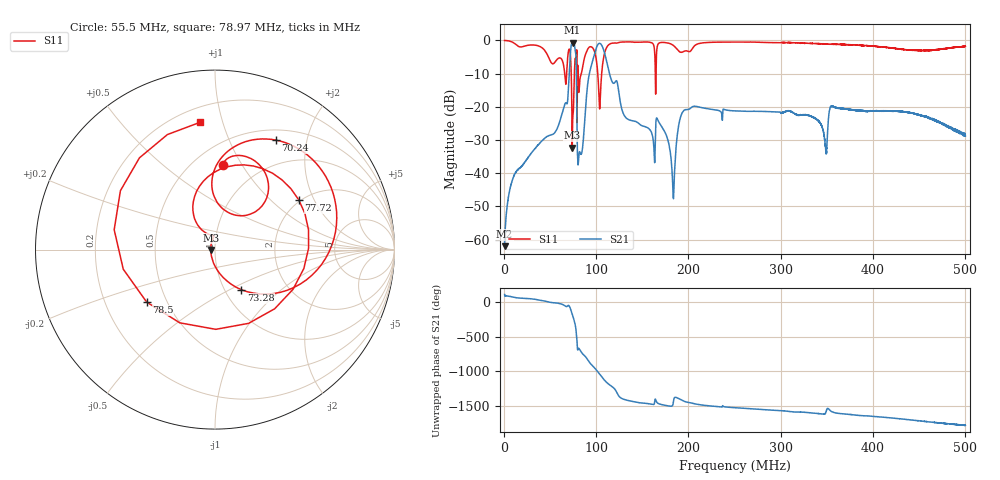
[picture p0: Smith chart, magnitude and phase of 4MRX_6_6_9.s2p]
! NanoVNA-App
! Date: 2026-08-19 18:03:17
! Start: 1MHz Stop: 500MHz Points: 6401
! S-Parameter data: F S11 S21 S12 S22
# Hz S RI R 50
!  Frequency  S11_Real  S11_Imag  S21_Real  S21_Imag  S12_Real  S12_Imag  S22_Real  S22_Imag
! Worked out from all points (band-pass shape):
!   6401 points, 1 MHz to 500 MHz, reference 50 ohm
!   highest |S21| = -0.66 dB at 74.6 MHz (marker M1); lowest = -61.9 dB at 1 MHz (marker M2)
!   |S21| within 3 dB of the highest: 72.34 MHz to 77.88 MHz (5.543 MHz wide, 7.38 % of centre); 98.75 MHz to 109.1 MHz (10.36 MHz wide, 9.97 % of centre)
!   lowest |S11| = -32.3 dB at 74.21 MHz (marker M3), VSWR 1.05, Z = 47.6 - j0.225 ohm
!   |S11| at or under -10 dB: 73.14 MHz to 76.55 MHz (3.405 MHz wide, 4.55 % of centre); 80.65 MHz to 84.02 MHz (3.372 MHz wide, 4.1 % of centre); 101.9 MHz to 106.1 MHz (4.219 MHz wide, 4.06 % of centre)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
!   S12 and S22 are empty: the file has one direction only
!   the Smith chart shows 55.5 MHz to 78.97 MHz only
!   S11 on the Smith chart (normalised r, x): 55.5 MHz: 0.69, +0.83; 70.24 MHz: 0.63, +1.51; 73.28 MHz: 1.19, -0.58; 77.72 MHz: 1.95, +1.54; 78.5 MHz: 0.39, -0.29; 78.97 MHz: 0.29, +0.85
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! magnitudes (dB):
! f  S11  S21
! 1 MHz  0.0  -61.9
! 11.92 MHz  -0.9  -40.3
! 55.5 MHz  -6.5  -27.7
! 70.24 MHz  -3.1  -13.7
! 73.28 MHz  -11.4  -1.3
! 74.21 MHz  -32.3  -0.7
! 74.6 MHz  -25.0  -0.7
! 77.72 MHz  -5.3  -3.4
! 78.5 MHz  -6.4  -6.6
! 78.97 MHz  -2.9  -15.6
! 84.19 MHz  -9.8  -34.2
! 95.5 MHz  -2.0  -7.0
! 103.4 MHz  -18.0  -0.9
! 112.1 MHz  -1.8  -7.1
! 131.9 MHz  -0.5  -23.1
! 167.4 MHz  -1.0  -24.2
! 183.4 MHz  -1.4  -46.3
! 195 MHz  -3.3  -21.1
! 250.5 MHz  -0.5  -21.2
! 333.7 MHz  -0.9  -23.0
! 416.9 MHz  -2.2  -21.3
! 500 MHz  -1.8  -28.8
